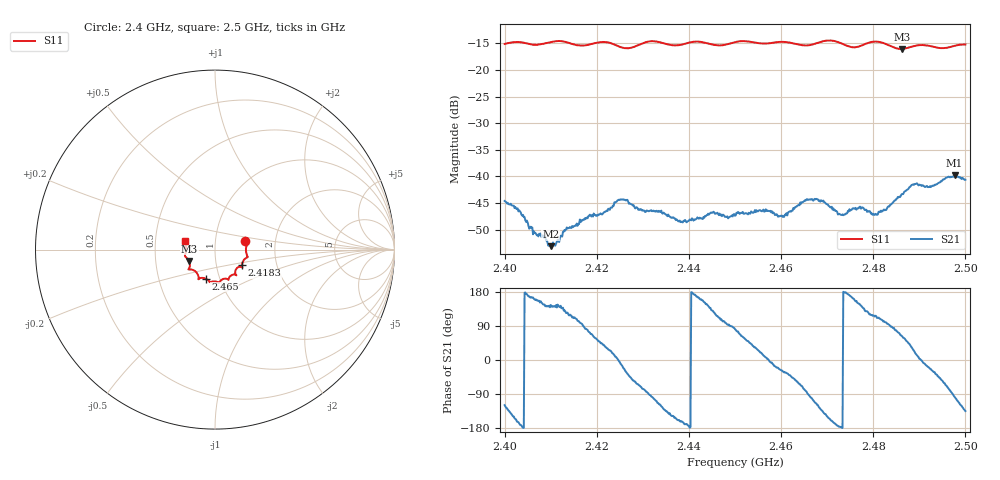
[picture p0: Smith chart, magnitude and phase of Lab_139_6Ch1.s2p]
# Hz S RI R 50
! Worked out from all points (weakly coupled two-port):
!   601 points, 2.4 GHz to 2.5 GHz, reference 50 ohm
!   highest |S21| = -39.81 dB at 2.4977 GHz (marker M1); lowest = -53.1 dB at 2.41 GHz (marker M2)
!   lowest |S11| = -16.1 dB at 2.4862 GHz (marker M3), VSWR 1.37, Z = 37.1 - j4.84 ohm
!   |S11| at or under -10 dB: start of sweep to end of sweep
!   S12 and S22 are empty: the file has one direction only
!   S11 on the Smith chart (normalised r, x): 2.4 GHz: 1.40, +0.13; 2.4183 GHz: 1.33, -0.24; 2.465 GHz: 0.86, -0.29; 2.5 GHz: 0.71, +0.07
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2.4e9  0.1694 0.0456  -0.00287 -0.00515  0 0  0 0
2.41e9  0.1793 -0.0346  -0.00182 0.00126  0 0  0 0
2.416667e9  0.1549 -0.0683  -0.000433 0.00386  0 0  0 0
2.418333e9  0.1497 -0.0872  0.0012 0.00409  0 0  0 0
2.425333e9  0.1311 -0.0969  0.00594 -0.00132  0 0  0 0
2.433333e9  0.1175 -0.1411  -0.00188 -0.00426  0 0  0 0
2.438167e9  0.0816 -0.1514  -0.00356 -0.0011  0 0  0 0
2.445e9  0.062 -0.1622  -0.00298 0.00346  0 0  0 0
2.45e9  0.0257 -0.1809  0.000631 0.00423  0 0  0 0
2.4565e9  -0.00535 -0.1768  0.00466 0.000692  0 0  0 0
2.460167e9  -0.028 -0.1816  0.00381 -0.00197  0 0  0 0
2.465e9  -0.0523 -0.1618  0.00133 -0.00572  0 0  0 0
2.466667e9  -0.0712 -0.1574  -0.00119 -0.00603  0 0  0 0
2.473333e9  -0.0922 -0.1495  -0.00441 -4.98e-05  0 0  0 0
2.477333e9  -0.1256 -0.1126  -0.00402 0.00296  0 0  0 0
2.4805e9  -0.1478 -0.1108  -0.00202 0.00398  0 0  0 0
2.483333e9  -0.1412 -0.0963  -0.000346 0.00523  0 0  0 0
2.486167e9  -0.1439 -0.0636  0.00302 0.00612  0 0  0 0
2.488833e9  -0.1622 -0.0419  0.0076 0.00345  0 0  0 0
2.492333e9  -0.1661 -0.0258  0.00747 -0.00317  0 0  0 0
2.497667e9  -0.1652 0.0334  -0.00133 -0.0101  0 0  0 0
2.5e9  -0.1673 0.0464  -0.00655 -0.00665  0 0  0 0
